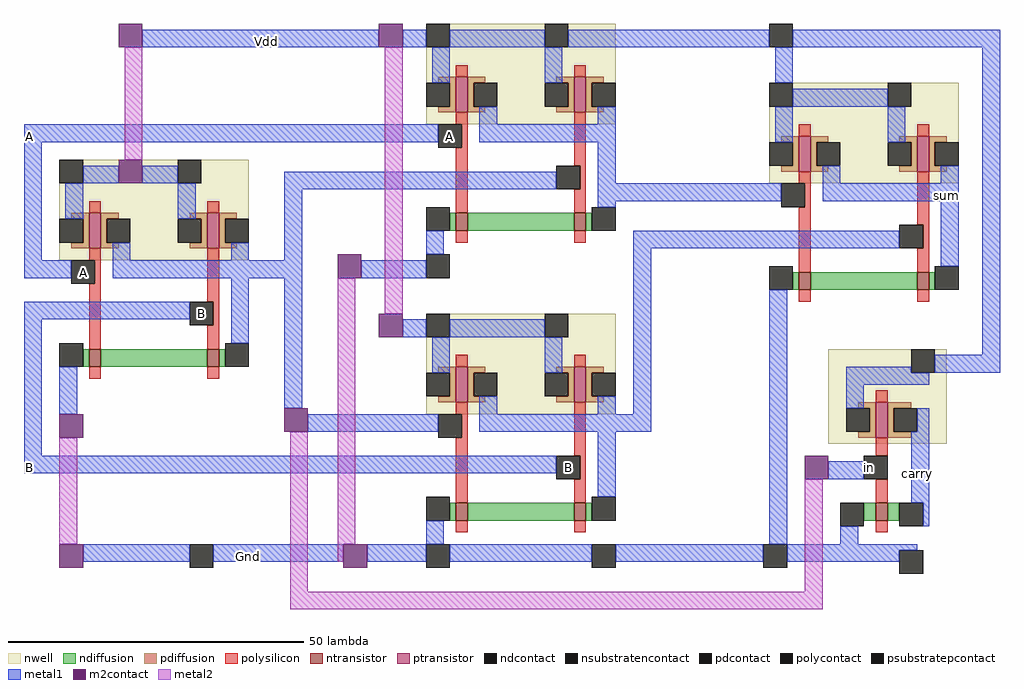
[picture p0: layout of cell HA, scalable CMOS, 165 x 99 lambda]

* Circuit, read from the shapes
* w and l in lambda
.subckt HA A B Gnd Vdd carry in sum
M1 n1 A Gnd Gnd nfet w=3 l=2
M2 in B n1 Gnd nfet w=3 l=2
M3 n2 in Gnd Gnd nfet w=3 l=2
M4 n3 A Gnd Gnd nfet w=3 l=2
M5 n4 B n2 Gnd nfet w=3 l=2
M6 n5 in n3 Gnd nfet w=3 l=2
M7 n6 n5 Gnd Gnd nfet w=3 l=2
M8 carry in Gnd Gnd nfet w=3 l=2
M9 sum n4 n6 Gnd nfet w=3 l=2
M10 in A Vdd Vdd pfet w=6 l=2
M11 in B Vdd Vdd pfet w=6 l=2
M12 n4 in Vdd Vdd pfet w=6 l=2
M13 n5 A Vdd Vdd pfet w=6 l=2
M14 n4 B Vdd Vdd pfet w=6 l=2
M15 n5 in Vdd Vdd pfet w=6 l=2
M16 sum n5 Vdd Vdd pfet w=6 l=2
M17 carry in Vdd Vdd pfet w=6 l=2
M18 sum n4 Vdd Vdd pfet w=6 l=2
.ends

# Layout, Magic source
magic
tech scmos
<< nwell >>
rect 68 75 100 92
rect 6 52 38 69
rect 126 65 158 82
rect 68 26 100 43
rect 136 21 156 37
<< polysilicon >>
rect 73 83 75 85
rect 93 83 95 85
rect 73 75 75 77
rect 74 71 75 75
rect 11 60 13 62
rect 31 60 33 62
rect 73 60 75 71
rect 93 68 95 77
rect 131 73 133 75
rect 151 73 153 75
rect 94 64 95 68
rect 131 65 133 67
rect 93 60 95 64
rect 132 61 133 65
rect 73 55 75 57
rect 93 55 95 57
rect 11 52 13 54
rect 12 48 13 52
rect 11 37 13 48
rect 31 45 33 54
rect 131 50 133 61
rect 151 58 153 67
rect 152 54 153 58
rect 151 50 153 54
rect 131 45 133 47
rect 151 45 153 47
rect 32 41 33 45
rect 31 37 33 41
rect 73 34 75 36
rect 93 34 95 36
rect 11 32 13 34
rect 31 32 33 34
rect 144 28 146 30
rect 73 26 75 28
rect 74 22 75 26
rect 73 11 75 22
rect 93 19 95 28
rect 144 19 146 22
rect 94 15 95 19
rect 93 11 95 15
rect 144 11 146 15
rect 73 6 75 8
rect 93 6 95 8
rect 144 6 146 8
<< ndiffusion >>
rect 72 57 73 60
rect 75 57 93 60
rect 95 57 96 60
rect 130 47 131 50
rect 133 47 151 50
rect 153 47 154 50
rect 10 34 11 37
rect 13 34 31 37
rect 33 34 34 37
rect 72 8 73 11
rect 75 8 93 11
rect 95 8 96 11
rect 142 8 144 11
rect 146 8 148 11
<< pdiffusion >>
rect 70 82 73 83
rect 72 78 73 82
rect 70 77 73 78
rect 75 82 78 83
rect 90 82 93 83
rect 75 78 76 82
rect 92 78 93 82
rect 75 77 78 78
rect 90 77 93 78
rect 95 82 98 83
rect 95 78 96 82
rect 95 77 98 78
rect 8 59 11 60
rect 10 55 11 59
rect 8 54 11 55
rect 13 59 16 60
rect 28 59 31 60
rect 13 55 14 59
rect 30 55 31 59
rect 13 54 16 55
rect 28 54 31 55
rect 33 59 36 60
rect 33 55 34 59
rect 128 72 131 73
rect 130 68 131 72
rect 128 67 131 68
rect 133 72 136 73
rect 148 72 151 73
rect 133 68 134 72
rect 150 68 151 72
rect 133 67 136 68
rect 148 67 151 68
rect 153 72 156 73
rect 153 68 154 72
rect 153 67 156 68
rect 33 54 36 55
rect 70 33 73 34
rect 72 29 73 33
rect 70 28 73 29
rect 75 33 78 34
rect 90 33 93 34
rect 75 29 76 33
rect 92 29 93 33
rect 75 28 78 29
rect 90 28 93 29
rect 95 33 98 34
rect 95 29 96 33
rect 95 28 98 29
rect 141 27 144 28
rect 143 23 144 27
rect 141 22 144 23
rect 146 27 150 28
rect 146 23 147 27
rect 146 22 150 23
<< metal1 >>
rect 20 88 60 91
rect 64 88 68 91
rect 72 88 88 91
rect 92 88 126 91
rect 130 88 165 91
rect 69 82 72 88
rect 88 82 91 88
rect 127 82 130 88
rect 130 78 146 81
rect 77 75 80 78
rect 97 75 100 78
rect 0 72 70 75
rect 0 52 3 72
rect 77 72 100 75
rect 127 72 130 78
rect 146 72 149 78
rect 10 65 16 68
rect 20 65 26 68
rect 7 59 10 65
rect 26 59 29 65
rect 44 64 90 67
rect 97 65 100 72
rect 135 65 138 68
rect 155 65 158 68
rect 15 52 18 55
rect 35 52 38 55
rect 44 52 47 64
rect 97 62 128 65
rect 97 61 100 62
rect 135 62 158 65
rect 68 53 71 57
rect 103 54 148 57
rect 0 49 8 52
rect 15 49 47 52
rect 57 49 68 52
rect 0 42 28 45
rect 0 19 3 42
rect 35 38 38 49
rect 6 26 9 34
rect 44 27 47 49
rect 64 39 68 42
rect 72 39 88 42
rect 69 33 72 39
rect 88 33 91 39
rect 77 26 80 29
rect 97 26 100 29
rect 103 26 106 54
rect 155 51 158 62
rect 48 23 70 26
rect 77 23 106 26
rect 0 16 90 19
rect 97 12 100 23
rect 68 4 71 8
rect 126 4 129 47
rect 139 33 150 34
rect 162 36 165 88
rect 154 33 165 36
rect 139 31 153 33
rect 139 27 142 31
rect 151 23 153 27
rect 136 15 142 18
rect 150 11 153 23
rect 152 7 153 11
rect 138 4 141 7
rect 10 1 28 4
rect 32 1 54 4
rect 58 1 68 4
rect 72 1 96 4
rect 100 1 125 4
rect 129 3 151 4
rect 129 1 148 3
<< metal2 >>
rect 17 69 20 88
rect 6 4 9 22
rect 45 -4 48 23
rect 53 4 56 49
rect 61 43 64 88
rect 53 1 54 4
rect 132 -4 135 15
rect 45 -7 135 -4
<< ntransistor >>
rect 73 57 75 60
rect 93 57 95 60
rect 131 47 133 50
rect 151 47 153 50
rect 11 34 13 37
rect 31 34 33 37
rect 73 8 75 11
rect 93 8 95 11
rect 144 8 146 11
<< ptransistor >>
rect 73 77 75 83
rect 93 77 95 83
rect 11 54 13 60
rect 31 54 33 60
rect 131 67 133 73
rect 151 67 153 73
rect 73 28 75 34
rect 93 28 95 34
rect 144 22 146 28
<< polycontact >>
rect 70 71 74 75
rect 90 64 94 68
rect 128 61 132 65
rect 8 48 12 52
rect 148 54 152 58
rect 28 41 32 45
rect 70 22 74 26
rect 90 15 94 19
rect 142 15 146 19
<< ndcontact >>
rect 68 57 72 61
rect 96 57 100 61
rect 6 34 10 38
rect 126 47 130 51
rect 154 47 158 51
rect 34 34 38 38
rect 68 8 72 12
rect 96 8 100 12
rect 138 7 142 11
rect 148 7 152 11
<< pdcontact >>
rect 68 78 72 82
rect 76 78 80 82
rect 88 78 92 82
rect 96 78 100 82
rect 6 55 10 59
rect 14 55 18 59
rect 26 55 30 59
rect 34 55 38 59
rect 126 68 130 72
rect 134 68 138 72
rect 146 68 150 72
rect 154 68 158 72
rect 68 29 72 33
rect 76 29 80 33
rect 88 29 92 33
rect 96 29 100 33
rect 139 23 143 27
rect 147 23 151 27
<< m2contact >>
rect 16 88 20 92
rect 60 88 64 92
rect 16 65 20 69
rect 53 49 57 53
rect 60 39 64 43
rect 6 22 10 26
rect 44 23 48 27
rect 132 15 136 19
rect 6 0 10 4
rect 54 0 58 4
<< psubstratepcontact >>
rect 68 49 72 53
rect 28 0 32 4
rect 68 0 72 4
rect 96 0 100 4
rect 125 0 129 4
rect 148 -1 152 3
<< nsubstratencontact >>
rect 68 88 72 92
rect 88 88 92 92
rect 126 88 130 92
rect 126 78 130 82
rect 146 78 150 82
rect 6 65 10 69
rect 26 65 30 69
rect 68 39 72 43
rect 88 39 92 43
rect 150 33 154 37
<< labels >>
rlabel metal1 1 73 1 73 1 A
rlabel polycontact 72 73 72 73 1 A
rlabel polycontact 10 50 10 50 1 A
rlabel polycontact 92 17 92 17 1 B
rlabel polycontact 30 43 30 43 1 B
rlabel metal1 1 17 1 17 1 B
rlabel metal1 38 2 38 2 1 Gnd
rlabel metal1 41 89 41 89 1 Vdd
rlabel polycontact 143 17 143 17 3 in
rlabel metal1 151 16 151 16 1 carry
rlabel metal1 156 63 156 63 1 sum
<< end >>
